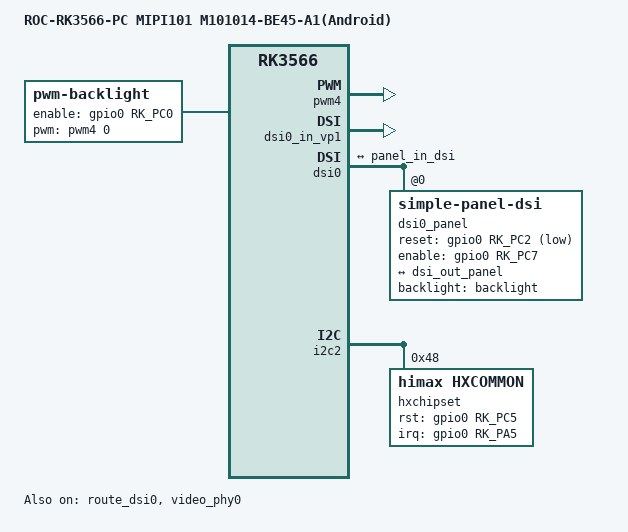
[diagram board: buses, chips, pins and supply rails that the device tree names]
// SPDX-License-Identifier: (GPL-2.0+ OR MIT)
/*
 * Copyright (c) 2020 Rockchip Electronics Co., Ltd.
 *
 */

 /dts-v1/;

#include "rk3566-roc-pc.dtsi"
/*
 *                               Select one of the two
 * using single camera xc7160 ----> rk3566-roc-pc-cam-8ms1m.dtsi
 * using dual camera gc2053/gc2093   ----> rk3566-roc-pc-cam-2ms2m.dtsi
 */
#include "rk3566-roc-pc-cam-8ms1m.dtsi"
//#include "rk3566-roc-pc-cam-2ms2m.dtsi"

/ {
    model = "ROC-RK3566-PC MIPI101 M101014-BE45-A1(Android)";
    compatible = "rockchip,rk3566-roc-pc-mipi", "rockchip,rk3566";
    	
        backlight:backlight {
		status = "okay";
		compatible = "pwm-backlight";
		pwms = <&pwm4 0 50000 1>;
		brightness-levels = <
                         60  60  60  60  60  60  60  60
                         60  60  60  60  60  60  60  60
                         60  60  60  60  60  60  60  60
                         60  60  60  60  60  60  60  60
                         60  60  60  60  60  60  60  60
                         60  60  60  60  60  60  60  60
                         60  60  60  60  60  60  60  60
                         60  60  60  60  60  61  62  63
                         64  65  66  67  68  69  70  71
                         72  73  74  75  76  77  78  79
                         80  81  82  83  84  85  86  87
                         88  89  90  91  92  93  94  95
                         96  97  98  99 100 101 102 103
                        104 105 106 107 108 109 110 111
                        112 113 114 115 116 117 118 119
                        120 121 122 123 124 125 126 127
                        128 129 130 131 132 133 134 135
                        136 137 138 139 140 141 142 143
                        144 145 146 147 148 149 150 151
                        152 153 154 155 156 157 158 159
                        160 161 162 163 164 165 166 167
                        168 169 170 171 172 173 174 175
                        176 177 178 179 180 181 182 183
                        184 185 186 187 188 189 190 191
                        192 193 194 195 196 197 198 199
                        200 201 202 203 204 205 206 207
                        208 209 210 211 212 213 214 215
                        216 217 218 219 220 221 222 223
                        224 225 226 227 228 229 230 231
                        232 233 234 235 236 237 238 239
                        240 241 242 243 244 245 246 247
                        248 249 250 251 252 253 254 255
               >;
               default-brightness-level = <200>;
        enable-gpios = <&gpio0 RK_PC0 GPIO_ACTIVE_HIGH>;
        polarity = <1>;
	};
};
&pwm4{
    status = "okay";
};

//disabled dsi1
&dsi1 {
    status = "disabled";
};

&dsi1_in_vp0 {
    status = "disabled";
};

&dsi1_in_vp1 {
    status = "disabled";
};
&video_phy1 {
		    status = "disabled";
};
//open hdmi(vop0) extend
&hdmi{
    status = "disabled";
   
};
&hdmi_in_vp1{
    status = "disabled";
};
&hdmi_in_vp0{
    status = "disabled";
};
&route_hdmi{
    status="disabled";
    connect = <&vp0_out_hdmi>;
};


//open dsi0(vop1)  main
&route_dsi0 {
    status = "okay";
    logo,rotation = <270>; //support rotation 90,180,270
    connect = <&vp1_out_dsi0>;
};
&dsi0_in_vp0 {
    status = "disabled";
};
&dsi0_in_vp1 {
    status = "okay";
};
&video_phy0 {
		    status = "okay";
};



&dsi0 {
	status = "okay";
	rockchip,lane-rate = <500>;
	dsi0_panel: panel@0 {          
        status = "okay";
        compatible = "simple-panel-dsi";
        reg = <0>;
	    backlight = <&backlight>;
        reset-gpios = <&gpio0 RK_PC2 GPIO_ACTIVE_LOW>;  
        enable-on-always = <0>;
        enable-gpios = <&gpio0 RK_PC7 GPIO_ACTIVE_HIGH>; 

        enable-delay-ms = <35>;
        prepare-delay-ms = <6>;
        reset-delay-ms = <25>;
        init-delay-ms = <55>;
        unprepare-delay-ms = <0>;
	    disable-delay-ms = <20>;
        size,width = <120>;
        size,height = <170>;
        dsi,flags = <(MIPI_DSI_MODE_VIDEO | MIPI_DSI_MODE_VIDEO_BURST | MIPI_DSI_MODE_LPM | MIPI_DSI_MODE_EOT_PACKET)>;
        dsi,format = <MIPI_DSI_FMT_RGB888>;
        dsi,lanes  = <4>;


        panel-init-sequence = [
            //39 00 04 B9 83 10 2E
            // 15 00 02 CF FF
            05 78 01 11
            05 32 01 29
            //15 00 02 35 00
        ];

        panel-exit-sequence = [
            05 00 01 28
            05 00 01 10
        ];

        display-timings {
            native-mode = <&timing1>;
            timing1: timing1 {
                clock-frequency = <72600000>;//<80000000>;
                hactive = <800>;//<768>;
                vactive = <1280>;
                hsync-len = <14>;   //20, 50,10
                hback-porch = <26>; //50, 56,10
                hfront-porch = <32>;//50, 30,180
                vsync-len = <8>;//4
                vback-porch = <20>;//4
                vfront-porch = <80>;//8
                hsync-active = <0>;
                vsync-active = <0>;
                de-active = <0>;
                pixelclk-active = <0>;
            };
        };

		ports {
			#address-cells = <1>;
			#size-cells = <0>;

			port@0 {
				reg = <0>;
				panel_in_dsi: endpoint {
					remote-endpoint = <&dsi_out_panel>;
				};
			};
		};
	};

	ports {
		#address-cells = <1>;
		#size-cells = <0>;

		port@1 {
			reg = <1>;
			dsi_out_panel: endpoint {
				remote-endpoint = <&panel_in_dsi>;
			};
		};
	};

};
&i2c2 {
    status = "okay";
    focaltech@38 {
        status = "disabled";
        compatible = "focaltech,ft8201";
        reg = <0x38>;
        focaltech,irq-gpio = <&gpio0 RK_PA5 IRQ_TYPE_LEVEL_LOW>;
        focaltech,reset-gpio = <&gpio0 RK_PC5 GPIO_ACTIVE_LOW>;
        focaltech,display-coords =  <0 0 800 1280>;// x_min, y_min, x_max, y_max
        focaltech,max-touch-number = <5>;
        //focaltech,have-key;
        //focaltech,key-number = <3>;
    };

    hxchipset@48{
        status = "okay";
        compatible = "himax,hxcommon";
        reg = <0x48>;

        himax,rst-gpio = <&gpio0 RK_PC5 GPIO_ACTIVE_HIGH>;
        himax,irq-gpio = <&gpio0 RK_PA5 IRQ_TYPE_LEVEL_LOW>;
        //himax,3v3-gpio = <&gpio0 RK_PB4 GPIO_ACTIVE_HIGH>;
        //himax,pon-gpio = <&gpio0 RK_PB4 GPIO_ACTIVE_HIGH>;

        himax,panel-coords = <0 800 0 1280>;      //触摸范围
        himax,display-coords = <0 800 0 1280>;    //分辨率
        report_type = <1>;
    };

};
/delete-node/ &vcc3v3_lcd0_n;
/delete-node/ &vcc3v3_lcd1_n;

